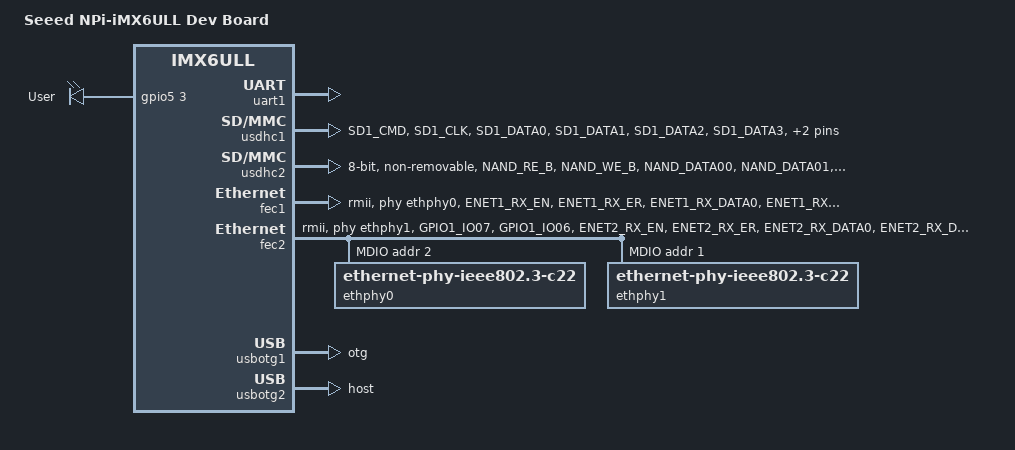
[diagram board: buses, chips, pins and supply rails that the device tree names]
// SPDX-License-Identifier: GPL-2.0
/*
 * Copyright (c) 2021 Linumiz
 * Author: Navin Sankar Velliangiri <navin@linumiz.com>
 */

#include <dt-bindings/gpio/gpio.h>
#include <dt-bindings/interrupt-controller/irq.h>
#include <dt-bindings/pwm/pwm.h>

/ {
	model = "Seeed NPi-iMX6ULL Dev Board";
	compatible = "fsl,imx6ull";

	chosen {
		stdout-path = &uart1;
	};

	leds {
		compatible = "gpio-leds";

		user-led {
			label = "User";
			pinctrl-names = "default";
			pinctrl-0 = <&pinctrl_gpios>;
			gpios = <&gpio5 3 GPIO_ACTIVE_HIGH>;
			linux,default-trigger = "heartbeat";
		};
	};
};

&gpmi {
	pinctrl-names = "default";
	pinctrl-0 = <&pinctrl_gpmi_nand>;
	nand-on-flash-bbt;
	status = "disabled";
};

&uart1 {
	pinctrl-name = "default";
	pinctrl-0 = <&pinctrl_uart1>;
	status = "okay";
};

&usdhc1 {
	pinctrl-names = "default", "state_100mhz", "state_200mhz";
	pinctrl-0 = <&pinctrl_usdhc1>;
	pinctrl-1 = <&pinctrl_usdhc1_100mhz>;
	pinctrl-2 = <&pinctrl_usdhc1_200mhz>;
	cd-gpios = <&gpio1 19 GPIO_ACTIVE_LOW>;
	no-1-8-v;
	keep-power-in-suspend;
	wakeup-source;
	status = "okay";
};

&usdhc2 {
	pinctrl-names = "default";
	pinctrl-0 = <&pinctrl_usdhc2>;
	pinctrl-1 = <&pinctrl_usdhc2_100mhz>;
	pinctrl-2 = <&pinctrl_usdhc2_200mhz>;
	bus-width = <8>;
	non-removable;
	keep-power-in-suspend;
};

&fec1 {
	pinctrl-names = "default";
	pinctrl-0 = <&pinctrl_enet1>;
	phy-mode = "rmii";
	phy-handle = <&ethphy0>;
	status = "okay";
};

&fec2 {
	pinctrl-names = "default";
	pinctrl-0 = <&pinctrl_enet2>;
	phy-mode = "rmii";
	phy-handle = <&ethphy1>;
	status = "okay";

	mdio {
		#address-cells = <1>;
		#size-cells = <0>;

		ethphy0: ethernet-phy@2 {
			compatible = "ethernet-phy-ieee802.3-c22";
			reg = <2>;
			micrel,led-mode = <1>;
			clocks = <&clks IMX6UL_CLK_ENET_REF>;
			clock-names = "rmii-ref";
		};

		ethphy1: ethernet-phy@1 {
			compatible = "ethernet-phy-ieee802.3-c22";
			reg = <1>;
			micrel,led-mode = <1>;
			clocks = <&clks IMX6UL_CLK_ENET2_REF>;
			clock-names = "rmii-ref";
		};
	};
};

&usbotg1 {
	pinctrl-names = "default";
	pinctrl-0 = <&pinctrl_usb_otg1_id>;
	dr_mode = "otg";
	srp-disable;
	hnp-disable;
	adp-disable;
	status = "okay";
};

&usbotg2 {
	dr_mode = "host";
	disable-over-current;
	status = "okay";
};

&iomuxc {
	pinctrl-names = "default";
	pinctrl-0 = <&pinctrl_gpios>;

	pinctrl_uart1: uart1grp {
		fsl,pin = <
			MX6UL_PAD_UART1_TX_DATA__UART1_DCE_TX	0x1b0b1
			MX6UL_PAD_UART1_RX_DATA__UART1_DCE_RX	0x1b0b1
		>;
	};

	pinctrl_usb_otg1_id: usbotg1idgrp {
		fsl,pin = <
			MX6UL_PAD_GPIO1_IO00__ANATOP_OTG1_ID	0x17059
		>;
	};

	pinctrl_gpmi_nand: gpminandgrp {
		fsl,pins = <
			MX6UL_PAD_NAND_DQS__RAWNAND_DQS		0x0b0b1
			MX6UL_PAD_NAND_CLE__RAWNAND_CLE		0x0b0b1
			MX6UL_PAD_NAND_ALE__RAWNAND_ALE		0x0b0b1
			MX6UL_PAD_NAND_WP_B__RAWNAND_WP_B	0x0b0b1
			MX6UL_PAD_NAND_READY_B__RAWNAND_READY_B	0x0b000
			MX6UL_PAD_NAND_CE0_B__RAWNAND_CE0_B	0x0b0b1
			MX6UL_PAD_NAND_CE1_B__RAWNAND_CE1_B	0x0b0b1
			MX6UL_PAD_NAND_RE_B__RAWNAND_RE_B	0x0b0b1
			MX6UL_PAD_NAND_WE_B__RAWNAND_WE_B	0x0b0b1
			MX6UL_PAD_NAND_DATA00__RAWNAND_DATA00	0x0b0b1
			MX6UL_PAD_NAND_DATA01__RAWNAND_DATA01	0x0b0b1
			MX6UL_PAD_NAND_DATA02__RAWNAND_DATA02	0x0b0b1
			MX6UL_PAD_NAND_DATA03__RAWNAND_DATA03	0x0b0b1
			MX6UL_PAD_NAND_DATA04__RAWNAND_DATA04	0x0b0b1
			MX6UL_PAD_NAND_DATA05__RAWNAND_DATA05	0x0b0b1
			MX6UL_PAD_NAND_DATA06__RAWNAND_DATA06   0x0b0b1
			MX6UL_PAD_NAND_DATA07__RAWNAND_DATA07	0x0b0b1
		>;
	};

	pinctrl_usdhc1: usdhc1grp {
		fsl,pins = <
			MX6UL_PAD_SD1_CMD__USDHC1_CMD		0x17059
			MX6UL_PAD_SD1_CLK__USDHC1_CLK		0x10059
			MX6UL_PAD_SD1_DATA0__USDHC1_DATA0	0x17059
			MX6UL_PAD_SD1_DATA1__USDHC1_DATA1	0x17059
			MX6UL_PAD_SD1_DATA2__USDHC1_DATA2	0x17059
			MX6UL_PAD_SD1_DATA3__USDHC1_DATA3	0x17059
			MX6UL_PAD_UART1_RTS_B__GPIO1_IO19	0x17059
		>;
	};

	pinctrl_usdhc1_100mhz: usdhc1grp100mhz {
		fsl,pins = <
			MX6UL_PAD_SD1_CMD__USDHC1_CMD		0x170b9
			MX6UL_PAD_SD1_CLK__USDHC1_CLK		0x100b9
			MX6UL_PAD_SD1_DATA0__USDHC1_DATA0	0x170b9
			MX6UL_PAD_SD1_DATA1__USDHC1_DATA1	0x170b9
			MX6UL_PAD_SD1_DATA2__USDHC1_DATA2	0x170b9
			MX6UL_PAD_SD1_DATA3__USDHC1_DATA3	0x170b9
		>;
	};

	pinctrl_usdhc1_200mhz: usdhc1grp200mhz {
		fsl,pins = <
			MX6UL_PAD_SD1_CMD__USDHC1_CMD		0x170f9
			MX6UL_PAD_SD1_CLK__USDHC1_CLK		0x100f9
			MX6UL_PAD_SD1_DATA0__USDHC1_DATA0	0x170f9
			MX6UL_PAD_SD1_DATA1__USDHC1_DATA1	0x170f9
			MX6UL_PAD_SD1_DATA2__USDHC1_DATA2	0x170f9
			MX6UL_PAD_SD1_DATA3__USDHC1_DATA3	0x170f9
		>;
	};

	pinctrl_usdhc2: usdhc2grp {
		fsl,pins = <
			MX6UL_PAD_NAND_RE_B__USDHC2_CLK		0x10069
			MX6UL_PAD_NAND_WE_B__USDHC2_CMD		0x17059
			MX6UL_PAD_NAND_DATA00__USDHC2_DATA0	0x17059
			MX6UL_PAD_NAND_DATA01__USDHC2_DATA1	0x17059
			MX6UL_PAD_NAND_DATA02__USDHC2_DATA2	0x17059
			MX6UL_PAD_NAND_DATA03__USDHC2_DATA3	0x17059
			MX6UL_PAD_NAND_DATA04__USDHC2_DATA4	0x17059
			MX6UL_PAD_NAND_DATA05__USDHC2_DATA5	0x17059
			MX6UL_PAD_NAND_DATA06__USDHC2_DATA6	0x17059
			MX6UL_PAD_NAND_DATA07__USDHC2_DATA7	0x17059
		>;
	};

	pinctrl_usdhc2_100mhz: usdhc2grp100mhz {
		fsl,pins = <
			MX6UL_PAD_NAND_RE_B__USDHC2_CLK		0x100b9
			MX6UL_PAD_NAND_WE_B__USDHC2_CMD		0x170b9
			MX6UL_PAD_NAND_DATA00__USDHC2_DATA0	0x170b9
			MX6UL_PAD_NAND_DATA01__USDHC2_DATA1	0x170b9
			MX6UL_PAD_NAND_DATA02__USDHC2_DATA2	0x170b9
			MX6UL_PAD_NAND_DATA03__USDHC2_DATA3	0x170b9
			MX6UL_PAD_NAND_DATA04__USDHC2_DATA4	0x170b9
			MX6UL_PAD_NAND_DATA05__USDHC2_DATA5	0x170b9
			MX6UL_PAD_NAND_DATA06__USDHC2_DATA6	0x170b9
			MX6UL_PAD_NAND_DATA07__USDHC2_DATA7	0x170b9
		>;
	};

	pinctrl_usdhc2_200mhz: usdhc2grp200mhz {
		fsl,pins = <
			MX6UL_PAD_NAND_RE_B__USDHC2_CLK		0x100f9
			MX6UL_PAD_NAND_WE_B__USDHC2_CMD		0x170f9
			MX6UL_PAD_NAND_DATA00__USDHC2_DATA0	0x170f9
			MX6UL_PAD_NAND_DATA01__USDHC2_DATA1	0x170f9
			MX6UL_PAD_NAND_DATA02__USDHC2_DATA2	0x170f9
			MX6UL_PAD_NAND_DATA03__USDHC2_DATA3	0x170f9
			MX6UL_PAD_NAND_DATA04__USDHC2_DATA4	0x170f9
			MX6UL_PAD_NAND_DATA05__USDHC2_DATA5	0x170f9
			MX6UL_PAD_NAND_DATA06__USDHC2_DATA6	0x170f9
			MX6UL_PAD_NAND_DATA07__USDHC2_DATA7	0x170f9
		>;
	};

	pinctrl_enet1: enet1grp {
		fsl,pins = <
			MX6UL_PAD_ENET1_RX_EN__ENET1_RX_EN      0x1b0b0
			MX6UL_PAD_ENET1_RX_ER__ENET1_RX_ER      0x1b0b0
			MX6UL_PAD_ENET1_RX_DATA0__ENET1_RDATA00 0x1b0b0
			MX6UL_PAD_ENET1_RX_DATA1__ENET1_RDATA01 0x1b0b0
			MX6UL_PAD_ENET1_TX_EN__ENET1_TX_EN      0x1b0b0
			MX6UL_PAD_ENET1_TX_DATA0__ENET1_TDATA00 0x1b0b0
			MX6UL_PAD_ENET1_TX_DATA1__ENET1_TDATA01 0x1b0b0
			MX6UL_PAD_ENET1_TX_CLK__ENET1_REF_CLK1  0x4001b031
		>;
	};

	pinctrl_enet2: enet2grp {
		fsl,pins = <
			MX6UL_PAD_GPIO1_IO07__ENET2_MDC         0x1b0b0
			MX6UL_PAD_GPIO1_IO06__ENET2_MDIO        0x1b0b0
			MX6UL_PAD_ENET2_RX_EN__ENET2_RX_EN      0x1b0b0
			MX6UL_PAD_ENET2_RX_ER__ENET2_RX_ER      0x1b0b0
			MX6UL_PAD_ENET2_RX_DATA0__ENET2_RDATA00 0x1b0b0
			MX6UL_PAD_ENET2_RX_DATA1__ENET2_RDATA01 0x1b0b0
			MX6UL_PAD_ENET2_TX_EN__ENET2_TX_EN      0x1b0b0
			MX6UL_PAD_ENET2_TX_DATA0__ENET2_TDATA00 0x1b0b0
			MX6UL_PAD_ENET2_TX_DATA1__ENET2_TDATA01 0x1b0b0
			MX6UL_PAD_ENET2_TX_CLK__ENET2_REF_CLK2  0x4001b031
		>;
	};

	pinctrl_gpios: gpiosgrp {
		fsl,pins = <
			MX6UL_PAD_SNVS_TAMPER3__GPIO5_IO03	0x0b0b0
		>;
	};
};
